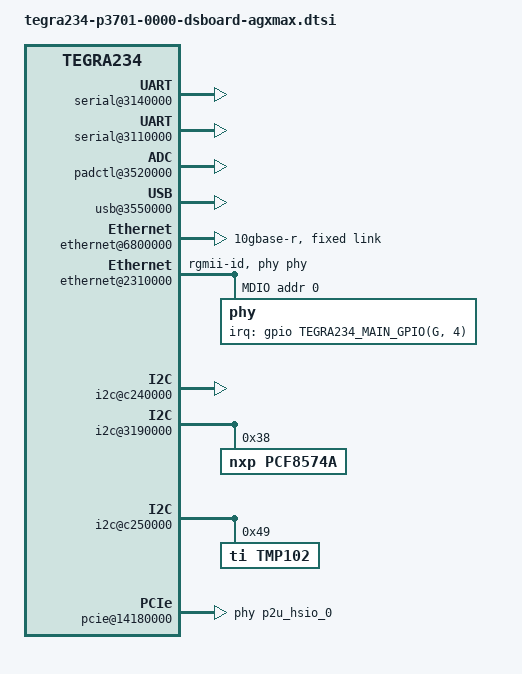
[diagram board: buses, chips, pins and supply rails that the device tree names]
// SPDX-License-Identifier: GPL-2.0

#include <dt-bindings/input/linux-event-codes.h>
#include <dt-bindings/input/gpio-keys.h>

/ {
	aliases {
		serial3 = &uarte; //serial@3140000
	};

	regulator-vdd-3v3-pcie {
		gpio = <&gpio TEGRA234_MAIN_GPIO(H, 4) 0>;
		/delete-property/ regulator-boot-on;
	};
	regulator-vdd-12v-pcie {
		/delete-property/ regulator-boot-on;
		/delete-property/ gpio;
		regulator-always-on;
	};
	regulator@3 {
		regulator-boot-on;
	};

	bus@0 {
		serial@3140000 { //for RS232-422-485 communication
			status = "okay";
			compatible = "nvidia,tegra194-hsuart";
			reset-names = "serial";
			clock-names = "serial";
		};

		serial@3110000 {
			status = "okay";
			reset-names = "serial";
			clock-names = "serial";
		};

		padctl@3520000 {
			status = "okay";

			ports {
				usb2-0 {
					status = "okay";
					vbus-supply = <&vdd_5v0_sys>;
					mode = "otg";
					usb-role-switch;
					/delete-node/ port;
					connector {
						compatible = "usb-b-connector", "gpio-usb-b-connector";
						label = "micro-USB";
						type = "micro";
						vbus-gpios = <&gpio TEGRA234_MAIN_GPIO(Z, 1) GPIO_ACTIVE_LOW>;
					};
				};

				usb2-1 {
					/delete-node/ port;
				};

				usb3-0 {
					nvidia,usb2-companion = <1>;
					status = "okay";
					/delete-node/ port;
				};

				usb3-1 {
					nvidia,usb2-companion = <0>;
					status = "okay";
					/delete-node/ port;
				};

				usb3-2 {
					nvidia,usb2-companion = <2>;
					status = "okay";
				};
			};
		};

		usb@3550000 {
			status = "okay";
			phys = <&{/bus@0/padctl@3520000/pads/usb2/lanes/usb2-0}>,
			       <&{/bus@0/padctl@3520000/pads/usb3/lanes/usb3-1}>;
			phy-names = "usb2-0", "usb3-1";
		};

		//ethernet@6900000 // already disabled
		//ethernet@6a00000 // already disabled
		//ethernet@6b00000 // already disabled

		// 10G Switch Config
		chosen {
			nvidia,ether-mac0 = "48:B0:2D:68:C9:1B";
			nvidia,ether-mac1 = "48:B0:2D:68:C9:1C";
		};
		ethernet@6800000 {
			status = "okay";
			nvidia,mac-addr-idx = <1>;

			/* 1=enable, 0=disable */
			nvidia,pause_frames = <1>;
			phy-mode = "10gbase-r";

			local-mac-address = [1a 2b 3c 4d 5e 6e];
			nvidia,phy-reset-gpio = <&gpio TEGRA234_MAIN_GPIO(Y, 1) 0>;
			nvidia,mdio_addr = <0>;

			/* 1:10G, 0:5G */
			nvidia,uphy-gbe-mode = <1>;
			/* 0:XFI 10G, 1:XFI 5G, 2:USXGMII 10G, 3:USXGMII 5G */
			nvidia,phy-iface-mode = <0>;
			nvidia,max-platform-mtu = <16383>;

			/delete-property/ snps,axi-config;
			/delete-property/ phy-handle;
			/delete-property/ nvidia,macsec-enable;
			/delete-property/ nvidia,mdio_addr;
			/delete-node/ stmmac-axi-config;
			/delete-node/ mdio;

			fixed-link {
				speed = <10000>;
				full-duplex;
			};
		};

		ethernet@2310000 { //EQOS
			status = "okay";

			nvidia,mac-addr-idx = <0>;
			nvidia,pause_frames = <1>;
			local-mac-address = [1a 2b 3c 4d 5e 6f];
			nvidia,phy-reset-gpio = <&gpio TEGRA234_MAIN_GPIO(G, 5) 0>;
			phy-mode = "rgmii-id";
			phy-handle = <&phy>;
			nvidia,max-platform-mtu = <16383>; //8000

			mdio {
				compatible = "nvidia,eqos-mdio";
				#address-cells = <1>;
				#size-cells = <0>;

				phy: phy@0 {
					reg = <0>;
					nvidia,phy-rst-pdelay-msec = <224>; /* msec */
					nvidia,phy-rst-duration-usec = <10000>; /* usec */
					interrupt-parent = <&gpio>;
					interrupts = <TEGRA234_MAIN_GPIO(G, 4) IRQ_TYPE_LEVEL_LOW>;
					marvell,copper-mode;
					/* Setup LED[2] as interrupt pin (active low) */
					marvell,reg-init = <0x03 0x12 0x7fff 0x880>;
				};
			};
		};

		i2c@c240000 {
			status = "okay";

			/delete-node/ typec@8;
		};

		i2c@3190000 {
			pcf8574a: gpio@38 {
				compatible = "nxp,pcf8574a";
				reg = <0x38>;
				gpio-controller;
				#gpio-cells = <2>;

				pcf8574a_outlow {
					gpio-hog;
					gpios = <0 0 1 0 2 0 3 0 4 0 5 0 6 0 7 0>;
					output-low;
				};
			};
		};

		i2c@c250000 {
			status = "okay";

			tmp102: tmp102@49 { // Temperature Sensor
				compatible = "ti,tmp102";
				reg = <0x49>;
				#thermal-sensor-cells = <0>;
			};
		};

		pcie@14180000 { // PCIe x1 (C0)
			status = "okay";
			phys = <&p2u_hsio_0>;
			phy-names = "p2u-0";
		};

		pcie@141e0000 { // PCIe x8 (C7)
			status = "disabled";
		};
	};
};
